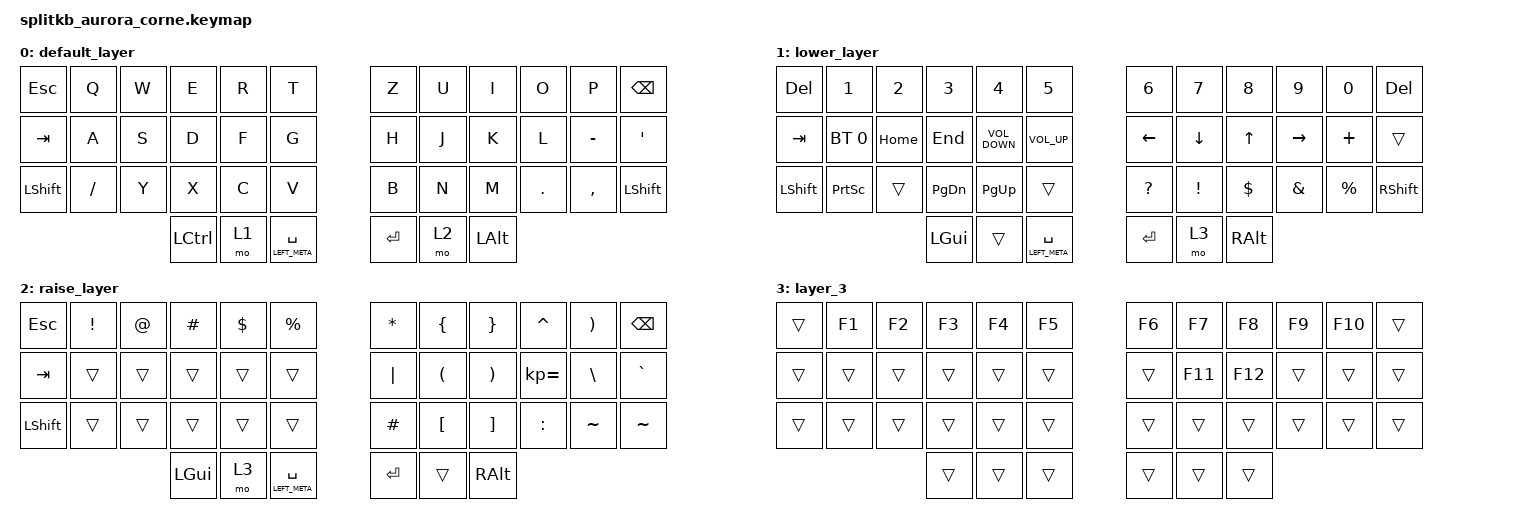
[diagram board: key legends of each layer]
/*
 * Copyright (c) 2020 The ZMK Contributors
 *
 * SPDX-License-Identifier: MIT
 */

#include <behaviors.dtsi>
#include <dt-bindings/zmk/bt.h>
#include <dt-bindings/zmk/keys.h>

/ {
    behaviors {
        spaceholdmeta: spaceholdmeta {
            compatible = "zmk,behavior-hold-tap";
            label = "SPACEHOLDMETA";
            bindings = <&kp>, <&kp>;

            #binding-cells = <2>;
            tapping-term-ms = <150>;
            flavor = "tap-preferred";
        };
    };

    combos { compatible = "zmk,combos"; };

    keymap {
        compatible = "zmk,keymap";

        default_layer {
            // -----------------------------------------------------------------------------------------
            // |  TAB |  Q  |  W  |  E  |  R  |  T  |   |  Y  |  U   |  I  |  O  |  P  | BKSP |
            // | CTRL |  A  |  S  |  D  |  F  |  G  |   |  H  |  J   |  K  |  L  |  ;  |  '   |
            // | SHFT |  Z  |  X  |  C  |  V  |  B  |   |  N  |  M   |  ,  |  .  |  /  | ESC  |
            //                    | GUI | LWR | SPC |   | ENT | RSE  | ALT |

            bindings = <
&kp ESCAPE  &kp Q      &kp W  &kp E             &kp R  &kp T                             &kp Z    &kp U  &kp I         &kp O       &kp P      &kp BSPC
&kp TAB     &kp A      &kp S  &kp D             &kp F  &kp G                             &kp H    &kp J  &kp K         &kp L       &kp MINUS  &kp SQT
&kp LSHFT   &kp SLASH  &kp Y  &kp X             &kp C  &kp V                             &kp B    &kp N  &kp M         &kp PERIOD  &kp COMMA  &kp LEFT_SHIFT
                              &kp LEFT_CONTROL  &mo 1  &spaceholdmeta LEFT_META SPACE    &kp RET  &mo 2  &kp LEFT_ALT
            >;
        };

        lower_layer {
            // -----------------------------------------------------------------------------------------
            // |  TAB |  1  |  2  |  3  |  4  |  5  |   |  6  |  7  |  8  |  9  |  0  | BKSP |
            // | BTCLR| BT1 | BT2 | BT3 | BT4 | BT5 |   | LFT | DWN |  UP | RGT |     |      |
            // | SHFT |     |     |     |     |     |   |     |     |     |     |     |      |
            //                    | GUI |     | SPC |   | ENT |     | ALT |

            bindings = <
&kp DELETE  &kp N1           &kp N2    &kp N3         &kp N4             &kp N5                            &kp N6        &kp N7    &kp N8      &kp N9         &kp N0       &kp DELETE
&kp TAB     &bt BT_SEL 0     &kp HOME  &kp END        &kp C_VOLUME_DOWN  &kp C_VOLUME_UP                   &kp LEFT      &kp DOWN  &kp UP      &kp RIGHT      &kp PLUS     &trans
&kp LSHFT   &kp PRINTSCREEN  &trans    &kp PAGE_DOWN  &kp PAGE_UP        &trans                            &kp QUESTION  &kp EXCL  &kp DOLLAR  &kp AMPERSAND  &kp PERCENT  &kp RIGHT_SHIFT
                                       &kp LGUI       &trans             &spaceholdmeta LEFT_META SPACE    &kp RET       &mo 3     &kp RALT
            >;
        };

        raise_layer {
            // -----------------------------------------------------------------------------------------
            // |  TAB |  !  |  @  |  #  |  $  |  %  |   |  ^  |  &  |  *  |  (  |  )  | BKSP |
            // | CTRL |     |     |     |     |     |   |  -  |  =  |  [  |  ]  |  \  |  `   |
            // | SHFT |     |     |     |     |     |   |  _  |  +  |  {  |  }  | "|" |  ~   |
            //                    | GUI |     | SPC |   | ENT |     | ALT |

            bindings = <
&kp ESCAPE  &kp EXCL  &kp AT  &kp HASH  &kp DLLR  &kp PRCNT                         &kp ASTERISK  &kp LEFT_BRACE        &kp RIGHT_BRACE        &kp CARET     &kp RPAR   &kp BSPC
&kp TAB     &trans    &trans  &trans    &trans    &trans                            &kp PIPE      &kp LEFT_PARENTHESIS  &kp RIGHT_PARENTHESIS  &kp KP_EQUAL  &kp BSLH   &kp GRAVE
&kp LSHFT   &trans    &trans  &trans    &trans    &trans                            &kp HASH      &kp LEFT_BRACKET      &kp RIGHT_BRACKET      &kp COLON     &kp TILDE  &kp TILDE
                              &kp LGUI  &mo 3     &spaceholdmeta LEFT_META SPACE    &kp RET       &trans                &kp RALT
            >;
        };

        layer_3 {
            bindings = <
&trans  &kp F1  &kp F2  &kp F3  &kp F4  &kp F5    &kp F6  &kp F7   &kp F8   &kp F9  &kp F10  &trans
&trans  &trans  &trans  &trans  &trans  &trans    &trans  &kp F11  &kp F12  &trans  &trans   &trans
&trans  &trans  &trans  &trans  &trans  &trans    &trans  &trans   &trans   &trans  &trans   &trans
                        &trans  &trans  &trans    &trans  &trans   &trans
            >;
        };
    };
};
